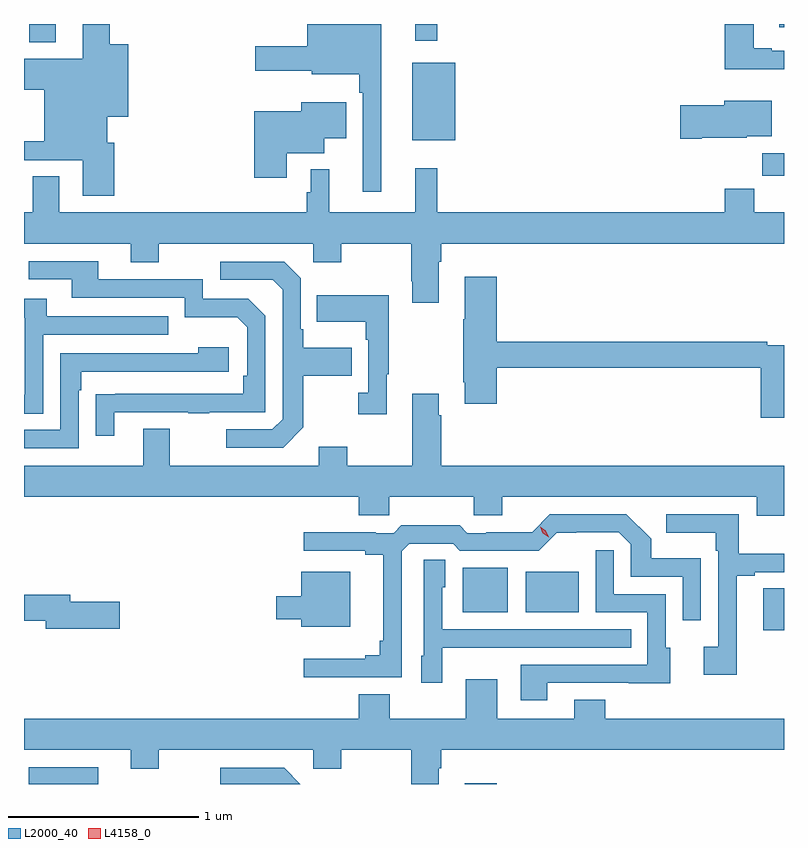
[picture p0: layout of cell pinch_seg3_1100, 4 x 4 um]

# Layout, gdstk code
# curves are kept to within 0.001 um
import gdstk
lib = gdstk.Library(unit=1e-6, precision=1e-09)
def R(c, l, rs):  # rectangles x0, y0, x1, y1
    for r in rs: c.add(gdstk.rectangle(r[:2], r[2:], *l))
def P(c, l, *ps):  # polygons
    for p in ps: c.add(gdstk.Polygon(p, *l))
L2000_40 = (2000, 40)
L4158_0 = (4158, 0)

pinch_seg3_1100 = lib.new_cell('pinch_seg3_1100')
R(pinch_seg3_1100, L2000_40, [(376.377,675.428,376.741,675.516), (378.671,675.428,378.839,675.433), (380.243,676.238,380.351,676.457), (378.659,676.331,378.898,676.567), (378.992,676.331,379.27,676.546), (380.236,678.63,380.351,678.748), (378.395,678.815,378.622,679.225), (376.379,679.331,376.519,679.428), (378.41,679.341,378.527,679.428), (380.327,679.41,380.351,679.428)])
P(pinch_seg3_1100, L2000_40, [(380.351,679.287),(380.287,679.287),(380.287,679.3),(380.191,679.3),(380.191,679.428),(380.039,679.428),(380.039,679.19),(380.351,679.19)],
  [(378.232,679.428),(377.842,679.428),(377.842,679.311),(377.568,679.311),(377.568,679.181),(377.865,679.181),(377.865,679.163),(378.115,679.163),(378.115,679.067),(378.135,679.067),(378.135,678.546),(378.232,678.546)],
  [(376.826,678.804),(376.789,678.804),(376.789,678.941),(376.9,678.941),(376.9,679.321),(376.802,679.321),(376.802,679.428),(376.661,679.428),(376.661,679.246),(376.351,679.246),(376.351,679.082),(376.457,679.082),(376.457,678.812),(376.351,678.812),(376.351,678.711),(376.661,678.711),(376.661,678.525),(376.826,678.525)],
  [(379.918,678.83),(380.154,678.83),(380.154,678.836),(380.287,678.836),(380.287,679.024),(380.036,679.024),(380.036,679.001),(379.806,679.001),(379.806,678.823),(379.918,678.823)],
  [(377.734,678.749),(377.932,678.749),(377.932,678.827),(378.046,678.827),(378.046,679.015),(377.81,679.015),(377.81,678.97),(377.564,678.97),(377.564,678.618),(377.734,678.618)],
  [(378.535,678.176),(378.548,678.176),(378.548,678.272),(380.351,678.272),(380.351,678.436),(380.195,678.436),(380.195,678.56),(380.039,678.56),(380.039,678.436),(378.527,678.436),(378.527,678.67),(378.41,678.67),(378.41,678.436),(377.957,678.436),(377.957,678.664),(377.859,678.664),(377.859,678.543),(377.839,678.543),(377.839,678.436),(376.537,678.436),(376.537,678.626),(376.397,678.626),(376.397,678.436),(376.351,678.436),(376.351,678.272),(376.913,678.272),(376.913,678.173),(377.061,678.173),(377.061,678.272),(377.874,678.272),(377.874,678.173),(378.021,678.173),(378.021,678.272),(378.388,678.272),(378.388,678.073),(378.395,678.073),(378.395,677.961),(378.535,677.961)],
  [(376.825,677.385),(377.215,677.385),(377.215,677.38),(377.327,677.38),(377.327,677.385),(377.622,677.385),(377.622,677.892),(377.532,677.982),(377.292,677.982),(377.292,678.084),(376.741,678.084),(376.741,678.18),(376.377,678.18),(376.377,678.084),(376.601,678.084),(376.601,677.988),(377.196,677.988),(377.196,677.885),(377.473,677.885),(377.526,677.832),(377.526,677.578),(377.506,677.578),(377.506,677.481),(376.729,677.48),(376.729,677.262),(376.825,677.262)],
  [(377.821,677.305),(377.821,677.578),(378.077,677.578),(378.077,677.725),(377.821,677.725),(377.821,677.821),(377.808,677.821),(377.808,678.09),(377.721,678.177),(377.385,678.177),(377.385,678.081),(377.661,678.081),(377.712,678.03),(377.712,677.349),(377.658,677.295),(377.415,677.295),(377.415,677.199),(377.715,677.199)],
  [(380.351,677.736),(380.264,677.736),(380.264,677.756),(378.839,677.756),(378.839,678.097),(378.671,678.097),(378.671,677.873),(378.664,677.873),(378.664,677.542),(378.671,677.542),(378.671,677.43),(378.839,677.43),(378.839,677.62),(380.228,677.62),(380.228,677.355),(380.351,677.355)],
  [(378.259,677.585),(378.271,677.585),(378.271,678.001),(377.893,678.001),(377.893,677.861),(378.15,677.861),(378.15,677.765),(378.162,677.765),(378.162,677.486),(378.111,677.486),(378.111,677.373),(378.259,677.373)],
  [(376.452,677.793),(377.111,677.793),(377.111,677.889),(376.471,677.889),(376.471,677.983),(376.351,677.983),(376.351,677.883),(376.356,677.883),(376.356,677.478),(376.351,677.478),(376.351,677.377),(376.452,677.377)],
  [(376.638,677.501),(376.651,677.501),(376.651,677.598),(377.428,677.598),(377.428,677.728),(377.267,677.728),(377.267,677.694),(376.542,677.694),(376.542,677.292),(376.351,677.292),(376.351,677.196),(376.638,677.196)],
  [(380.351,677.104),(378.548,677.104),(378.548,677.369),(378.535,677.369),(378.535,677.482),(378.395,677.482),(378.395,677.104),(378.051,677.104),(378.051,677.203),(377.903,677.203),(377.903,677.104),(377.119,677.104),(377.119,677.299),(376.979,677.299),(376.979,677.104),(376.351,677.104),(376.351,676.94),(378.113,676.94),(378.113,676.842),(378.273,676.842),(378.273,676.94),(378.718,676.94),(378.718,676.842),(378.868,676.842),(378.868,676.94),(380.207,676.94),(380.207,676.841),(380.351,676.841)],
  [(380.101,676.524),(380.197,676.524),(380.197,676.542),(380.351,676.542),(380.351,676.64),(380.113,676.64),(380.113,676.848),(379.731,676.848),(379.731,676.751),(379.992,676.751),(379.992,676.655),(380.004,676.655),(380.004,676.15),(379.929,676.15),(379.929,676.002),(380.101,676.002)],
  [(378.339,676.653),(378.378,676.692),(378.609,676.692),(378.645,676.656),(379.059,676.656),(379.154,676.751),(379.482,676.752),(379.545,676.689),(379.545,676.518),(379.818,676.518),(379.818,676.29),(379.914,676.29),(379.914,676.615),(379.653,676.615),(379.653,676.718),(379.522,676.848),(379.119,676.848),(379.025,676.754),(378.784,676.754),(378.784,676.749),(378.684,676.749),(378.645,676.789),(378.337,676.789),(378.297,676.749),(378.203,676.749),(378.203,676.754),(377.823,676.754),(377.823,676.656),(378.146,676.656),(378.146,676.634),(378.242,676.634),(378.242,676.183),(378.223,676.183),(378.223,676.106),(378.146,676.106),(378.146,676.087),(377.823,676.087),(377.823,675.99),(378.339,675.99)],
  [(379.105,675.96),(379.535,675.96),(379.535,675.959),(379.753,675.959),(379.753,676.146),(379.728,676.146),(379.728,676.428),(379.455,676.428),(379.455,676.657),(379.359,676.657),(379.359,676.332),(379.632,676.332),(379.632,676.056),(378.965,676.056),(378.965,675.87),(379.105,675.87)],
  [(378.552,676.145),(378.869,676.145),(378.869,676.146),(379.547,676.146),(379.547,676.242),(378.552,676.242),(378.552,676.464),(378.568,676.464),(378.568,676.607),(378.456,676.607),(378.456,676.104),(378.443,676.104),(378.443,675.96),(378.552,675.96)],
  [(378.067,676.546),(377.81,676.546),(377.81,676.417),(377.679,676.417),(377.679,676.295),(377.81,676.295),(377.81,676.256),(378.067,676.256)],
  [(376.855,676.388),(376.594,676.388),(376.594,676.424),(376.351,676.424),(376.351,676.288),(376.466,676.288),(376.466,676.246),(376.855,676.246)],
  [(378.535,675.512),(378.548,675.512),(378.548,675.608),(380.351,675.608),(380.351,675.772),(379.411,675.772),(379.411,675.871),(379.247,675.871),(379.247,675.772),(378.841,675.772),(378.841,675.979),(378.677,675.979),(378.677,675.772),(378.277,675.772),(378.277,675.901),(378.113,675.901),(378.113,675.772),(376.351,675.772),(376.351,675.608),(376.913,675.608),(376.913,675.509),(377.061,675.509),(377.061,675.608),(377.874,675.608),(377.874,675.509),(378.021,675.509),(378.021,675.608),(378.388,675.608),(378.388,675.428),(378.535,675.428)],
  [(377.721,675.513),(377.385,675.513),(377.385,675.428),(377.806,675.428)])
P(pinch_seg3_1100, L4158_0, [(379.113,676.727),(379.082,676.748),(379.067,676.782),(379.067,676.782),(379.067,676.782),(379.098,676.761),(379.114,676.727),(379.114,676.727)])

lib.write_gds('pinch_seg3_1100.gds')
